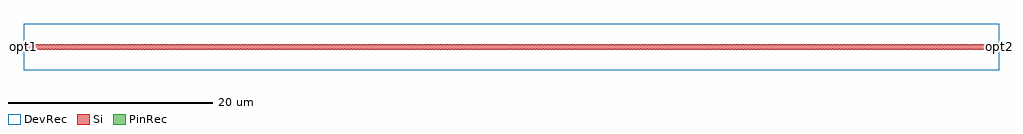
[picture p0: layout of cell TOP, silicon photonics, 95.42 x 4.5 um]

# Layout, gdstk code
import gdstk
lib = gdstk.Library(unit=1e-6, precision=1e-09)
def R(c, l, rs):  # rectangles x0, y0, x1, y1
    for r in rs: c.add(gdstk.rectangle(r[:2], r[2:], *l))
def A(c, l, x, y, w, h, nx, ny, dx, dy):  # array of equal rectangles
    R(c, l, [(x+i*dx, y+j*dy, x+i*dx+w, y+j*dy+h) for i in range(nx) for j in range(ny)])
Si = (1, 0)
PinRec = (1, 10)
DevRec = (68, 0)

top = lib.new_cell('TOP')
A(top, Si, 0, -0.257, 0.159, 0.257, 300, 2, 0.318, 0.257)
A(top, Si, 0.159, -0.243, 0.159, 0.243, 300, 2, 0.318, 0.243)
R(top, DevRec, [(0,-2.25,95.4,2.25)])
top.add(gdstk.FlexPath([(0.01,0),(-0.01,0)], 0.5, ends="flush", simple_path=True, layer=1, datatype=10))  # PinRec
top.add(gdstk.FlexPath([(95.39,0),(95.41,0)], 0.5, ends="flush", simple_path=True, layer=1, datatype=10))  # PinRec
top.add(gdstk.Label('opt1', (0,0), layer=1, texttype=10))
top.add(gdstk.Label('opt2', (95.4,0), layer=1, texttype=10))

lib.write_gds('TOP.gds')
